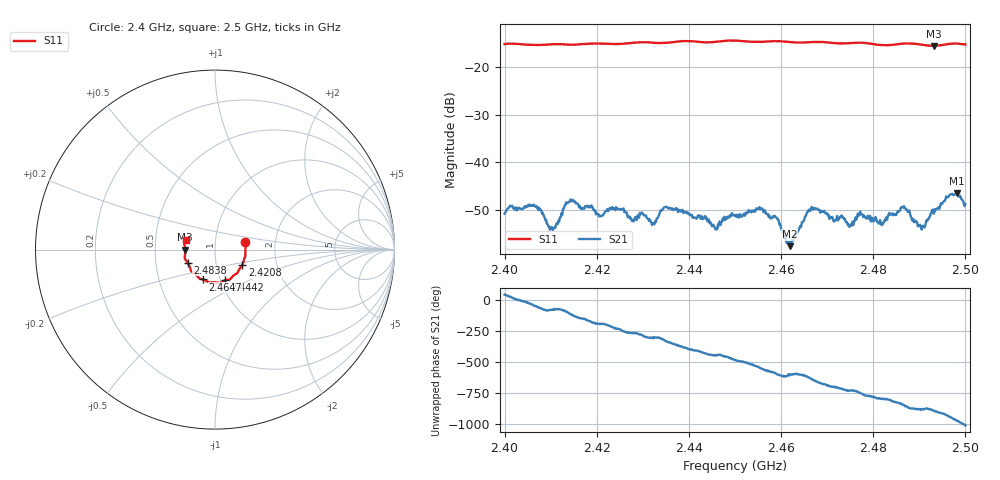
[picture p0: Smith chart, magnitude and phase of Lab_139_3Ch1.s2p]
# Hz S RI R 50
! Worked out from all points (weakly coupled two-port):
!   601 points, 2.4 GHz to 2.5 GHz, reference 50 ohm
!   highest |S21| = -46.51 dB at 2.4982 GHz (marker M1); lowest = -57.6 dB at 2.4618 GHz (marker M2)
!   lowest |S11| = -15.6 dB at 2.4932 GHz (marker M3), VSWR 1.40, Z = 35.8 - j0.084 ohm
!   |S11| at or under -10 dB: start of sweep to end of sweep
!   S12 and S22 are empty: the file has one direction only
!   S11 on the Smith chart (normalised r, x): 2.4 GHz: 1.40, +0.12; 2.4208 GHz: 1.33, -0.24; 2.4442 GHz: 1.05, -0.37; 2.4647 GHz: 0.83, -0.29; 2.4838 GHz: 0.73, -0.11; 2.5 GHz: 0.72, +0.08
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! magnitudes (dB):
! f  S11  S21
! 2.4 GHz  -15.2  -50.8
! 2.4063 GHz  -15.4  -48.9
! 2.4103 GHz  -15.3  -53.7
! 2.4138 GHz  -15.4  -48.3
! 2.4167 GHz  -15.3  -49.7
! 2.4208 GHz  -15.1  -51.4
! 2.4333 GHz  -15.0  -51.5
! 2.4353 GHz  -15.0  -49.5
! 2.4442 GHz  -14.9  -52.4
! 2.45 GHz  -14.5  -51.3
! 2.4555 GHz  -14.8  -49.8
! 2.4618 GHz  -14.8  -57.6
! 2.4647 GHz  -14.9  -52.6
! 2.4667 GHz  -14.8  -49.3
! 2.4748 GHz  -15.0  -53.6
! 2.4833 GHz  -15.5  -50.9
! 2.4838 GHz  -15.4  -51.0
! 2.4867 GHz  -15.1  -49.2
! 2.4908 GHz  -15.4  -53.3
! 2.4932 GHz  -15.6  -50.8
! 2.4982 GHz  -15.1  -46.5
! 2.5 GHz  -15.3  -48.8
